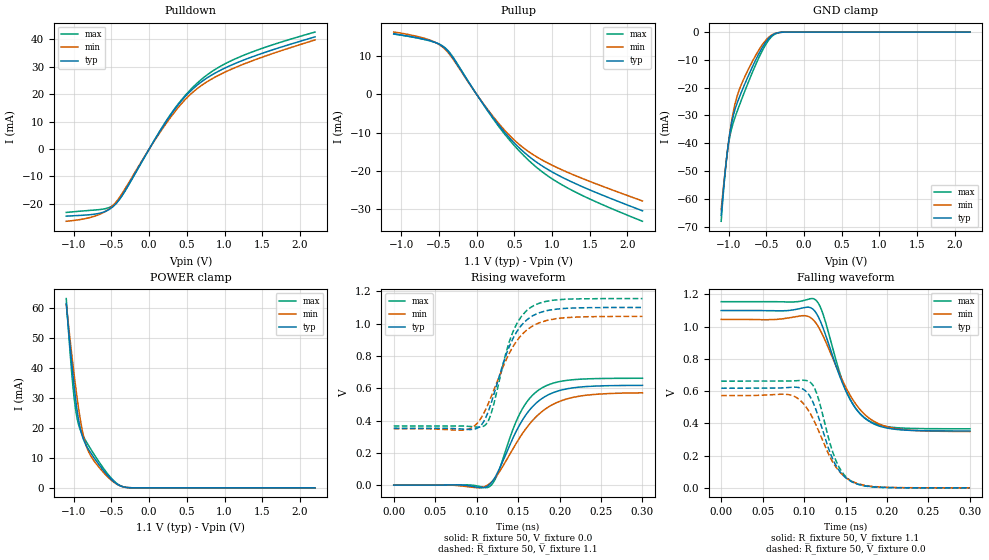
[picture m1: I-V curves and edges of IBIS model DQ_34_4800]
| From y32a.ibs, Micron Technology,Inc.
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| MODEL DQ_34_4800 (34 Ohm Data I/O with no ODT, 4800Mbps)
[Model]   DQ_34_4800
Model_type   I/O
Vinl = 780.000mV
Vinh = 980.000mV
Vmeas = 880.000mV
Vref = 1100.000mV
Cref = 0.0pF
Rref = 50.000Ohm
|   typ   min   max
|C_comp   0.860pF   0.810pF   0.910pF
C_comp_pullup   0.430pF   0.405pF   0.455pF
C_comp_pulldown   0.430pF   0.405pF   0.455pF
[Model Spec]
| Timing spec test load voltage corners
Vref   1.1000V   1.0450V   1.1550V
[Voltage Range]   1.1000V   1.0450V   1.1550V
| Junction Temperature (Ambient temp is 35C typ, 95C min, 0C max)
[Temperature Range]   50.0   110.0   0.0
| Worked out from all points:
|   slope of the pulldown table from 0 to 0.165 V, typ, clamps not added: 22.2 ohm
|   slope of the pullup table from 0 to 0.165 V, typ, clamps not added: 35.4 ohm
|   GND clamp passes 1 mA (typ) near -0.41 V on its own axis
|   POWER clamp passes 1 mA (typ) near -0.41 V on its own axis
|   rising waveform, R_fixture 50, V_fixture 0.0: 20-80 % time 39.4ps typ, 47.9ps min, 32.9ps max; typ from 0 V to 0.618 V
|   rising waveform, R_fixture 50, V_fixture 1.1: 20-80 % time 31.3ps typ, 37.6ps min, 26.4ps max; typ from 0.352 V to 1.1 V
|   falling waveform, R_fixture 50, V_fixture 1.1: 20-80 % time 35.2ps typ, 40.8ps min, 30.7ps max; typ from 1.1 V to 0.353 V
|   falling waveform, R_fixture 50, V_fixture 0.0: 20-80 % time 26.5ps typ, 32.7ps min, 23.1ps max; typ from 0.618 V to 0 V
[Pulldown]
|   Voltage   I(typ)   I(min)   I(max)
-1.1V     -24.46mA   -26.32mA   -23.1mA
-683mV    -23.53mA   -24.08mA   -22.13mA
-551mV    -22.32mA   -22.21mA   -21.5mA
-437mV    -19.83mA   -19.22mA   -19.63mA
-329mV    -15.58mA   -14.9mA    -15.71mA
31mV      1.433mA    1.347mA    1.474mA
277mV     12.08mA    11.3mA     12.37mA
481mV     19.21mA    18.11mA    19.62mA
688mV     24.39mA    23.05mA    25.26mA
919mV     28.34mA    26.86mA    29.75mA
1.234V    32.22mA    30.74mA    33.96mA
2.2V      40.87mA    39.75mA    42.64mA
[GND Clamp]
|   Voltage   I(typ)   I(min)   I(max)
-1.1V     -65.86mA   -63.87mA   -68.03mA
-1.052V   -51.54mA   -51.15mA   -51.82mA
-1.028V   -45.32mA   -45.33mA   -45.45mA
-1.007V   -40.58mA   -40.64mA   -41.04mA
-953mV    -31.69mA   -30.68mA   -33.89mA
-890mV    -25.67mA   -23.2mA    -28.65mA
-803mV    -19.72mA   -17.01mA   -22.38mA
-629mV    -9.326mA   -7.769mA   -10.93mA
-506mV    -3.557mA   -2.893mA   -4.359mA
-416mV    -1.036mA   -862.8uA   -1.304mA
-239mV    -18.66uA   -22.35uA   -16.43uA
2.2V      0A         0A         0A
[Pullup]
|   Voltage   I(typ)   I(min)   I(max)
-1.1V     15.85mA    16.29mA    15.78mA
-626mV    14.07mA    14.23mA    14.01mA
-494mV    13.08mA    12.98mA    13.11mA
-395mV    11.56mA    11.28mA    11.75mA
-305mV    9.262mA    8.988mA    9.496mA
0V        2.327uA    344.5nA    510.6nA
265mV     -7.325mA   -6.942mA   -7.652mA
493mV     -12.59mA   -11.84mA   -13.24mA
724mV     -16.7mA    -15.45mA   -17.88mA
955mV     -19.77mA   -18.08mA   -21.48mA
1.273V    -23mA      -20.95mA   -25.18mA
2.2V      -30.46mA   -27.88mA   -33.19mA
[POWER Clamp]
|   Voltage   I(typ)   I(min)   I(max)
-1.1V     61.39mA    61.23mA    63.06mA
-1.052V   47.92mA    50.02mA    45.99mA
-1.007V   36.47mA    40.11mA    32.76mA
-968mV    28.02mA    32.2mA     24.82mA
-932mV    22.03mA    25.71mA    20.66mA
-875mV    16.36mA    17.66mA    17.19mA
-845mV    14.63mA    14.76mA    15.83mA
-800mV    12.64mA    11.8mA     13.92mA
-626mV    6.417mA    5.683mA    7.203mA
-431mV    1.328mA    1.234mA    1.517mA
-227mV    18.27uA    26.29uA    16.77uA
2.2V      0A         0A         0A
[Ramp]
|   typ   min   max
| 20% - 80%
dV/dt_r   370.63m/39.44p   342.96m/47.85p   397.09m/32.92p
dV/dt_f   448.44m/35.18p   417.22m/40.81p   473.13m/30.69p
| 25% - 75%
|dV/dt_r   308.86m/31.42p   285.80m/38.22p   330.91m/26.13p
|dV/dt_f   373.70m/28.17p   347.69m/32.76p   394.28m/24.48p
R_load = 50
[Rising Waveform]
R_fixture = 50
V_fixture = 0.0
|   Time   V(typ)   V(min)   V(max)
0s        8.019uV    -41.09uV   1.964uV
102ps     -14.35mV   -16.7mV    -6.449mV
114ps     -3.411mV   2.771mV    -13.15mV
124ps     64.83mV    56.71mV    53.96mV
152ps     374.9mV    294.5mV    442.4mV
163ps     459.9mV    373.6mV    531.6mV
175ps     522.2mV    439.1mV    589.7mV
193ps     574.2mV    502.6mV    632.6mV
216ps     602.2mV    543.3mV    652.8mV
300ps     617.7mV    571.6mV    661.8mV
[Rising Waveform]
R_fixture   = 50
V_fixture   = 1.1
V_fixture_min = 1.045
V_fixture_max = 1.155
|   Time   V(typ)   V(min)   V(max)
0s        352.5mV    349.5mV    366.4mV
87ps      345.3mV    343.1mV    365.2mV
101ps     353.7mV    385.1mV    358.8mV
110ps     407.4mV    459.2mV    370.1mV
118ps     515.5mV    553.9mV    452mV
143ps     899.6mV    850.3mV    939.1mV
154ps     989.6mV    928.9mV    1.045V
169ps     1.052V     989.5mV    1.112V
207ps     1.094V     1.037V     1.151V
300ps     1.1V       1.045V     1.155V
[Falling Waveform]
R_fixture   = 50
V_fixture   = 1.1
V_fixture_min = 1.045
V_fixture_max = 1.155
|   Time   V(typ)   V(min)   V(max)
0s        1.1V       1.045V     1.155V
101ps     1.119V     1.068V     1.164V
112ps     1.102V     1.037V     1.172V
122ps     1.004V     952.3mV    1.09V
142ps     705.7mV    713.8mV    729.8mV
151ps     593.5mV    616.6mV    599.5mV
161ps     501.7mV    529.4mV    501.8mV
172ps     437mV      460.6mV    438.4mV
210ps     363.1mV    367.8mV    373.8mV
300ps     352.6mV    349.7mV    366.4mV
[Falling Waveform]
R_fixture = 50
V_fixture = 0.0
|   Time   V(typ)   V(min)   V(max)
0s        618.1mV    572.4mV    662mV
82ps      623mV      577.7mV    662mV
97ps      616.7mV    534.5mV    667.2mV
107ps     567.9mV    465mV      656mV
116ps     460.3mV    371.4mV    574mV
130ps     236.3mV    204.4mV    298.5mV
139ps     133.3mV    124.4mV    161.7mV
149ps     67.71mV    69.03mV    76.44mV
162ps     27.33mV    31.34mV    27.99mV
300ps     6.837uV    22.67uV    3.568uV
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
